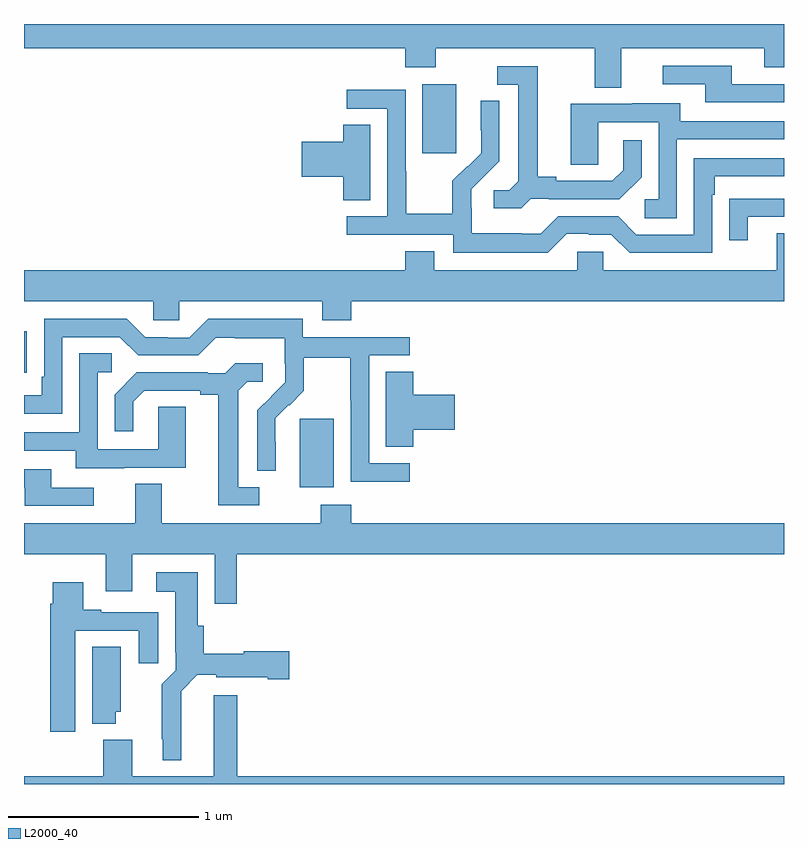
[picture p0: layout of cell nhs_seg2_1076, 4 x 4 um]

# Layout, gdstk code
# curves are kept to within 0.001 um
import gdstk
lib = gdstk.Library(unit=1e-6, precision=1e-09)
def R(c, l, rs):  # rectangles x0, y0, x1, y1
    for r in rs: c.add(gdstk.rectangle(r[:2], r[2:], *l))
def P(c, l, *ps):  # polygons
    for p in ps: c.add(gdstk.Polygon(p, *l))
L2000_40 = (2000, 40)

nhs_seg2_1076 = lib.new_cell('nhs_seg2_1076')
R(nhs_seg2_1076, L2000_40, [(168.452,609.362,168.631,609.723), (167,609.964,167.015,610.183), (169.097,611.121,169.276,611.482)])
P(nhs_seg2_1076, L2000_40, [(170.143,611.672),(170.897,611.672),(170.897,611.573),(171,611.573),(171,611.8),(167,611.8),(167,611.672),(169.007,611.672),(169.007,611.573),(169.167,611.573),(169.167,611.672),(170.003,611.672),(170.003,611.464),(170.143,611.464)],
  [(171,611.484),(170.725,611.484),(170.725,611.58),(170.361,611.58),(170.361,611.484),(170.585,611.484),(170.585,611.388),(171,611.388)],
  [(169.668,610.881),(169.762,610.881),(169.762,610.878),(170.134,610.878),(170.25,610.994),(170.25,611.188),(170.153,611.188),(170.153,611.031),(170.096,610.974),(169.801,610.974),(169.801,610.997),(169.705,610.997),(169.705,611.577),(169.491,611.577),(169.491,611.481),(169.601,611.481),(169.601,610.973),(169.554,610.926),(169.473,610.926),(169.473,610.829),(169.616,610.829)],
  [(169.857,610.695),(169.973,610.695),(169.973,610.692),(170.091,610.692),(170.187,610.596),(170.622,610.596),(170.622,610.901),(170.635,610.901),(170.635,610.998),(171,610.998),(171,611.094),(170.526,611.094),(170.526,610.692),(170.223,610.692),(170.127,610.788),(169.812,610.788),(169.719,610.695),(169.619,610.695),(169.619,610.699),(169.356,610.699),(169.356,610.833),(169.354,610.833),(169.354,610.93),(169.5,611.078),(169.5,611.396),(169.404,611.396),(169.404,611.242),(169.406,611.242),(169.406,611.12),(169.335,611.049),(169.332,611.052),(169.255,610.975),(169.255,610.801),(169.011,610.801),(169.011,611.024),(169.008,611.024),(169.008,611.454),(168.699,611.454),(168.699,611.355),(168.912,611.355),(168.912,610.788),(168.699,610.788),(168.699,610.692),(169.26,610.692),(169.26,610.595),(169.757,610.595)],
  [(170.436,611.193),(171,611.193),(171,611.289),(170.455,611.289),(170.455,611.383),(170.201,611.383),(170.201,611.379),(169.877,611.379),(169.877,611.059),(170.022,611.059),(170.022,611.283),(170.34,611.283),(170.34,610.878),(170.268,610.878),(170.268,610.777),(170.436,610.777)],
  [(168.823,611.27),(168.68,611.27),(168.68,611.18),(168.462,611.18),(168.462,610.997),(168.68,610.997),(168.68,610.873),(168.823,610.873)],
  [(170.809,610.785),(171,610.785),(171,610.881),(170.815,610.881),(170.815,610.88),(170.713,610.88),(170.713,610.662),(170.809,610.662)],
  [(171,610.699),(170.963,610.699),(170.963,610.504),(170.049,610.504),(170.049,610.602),(169.911,610.602),(169.911,610.504),(169.159,610.504),(169.159,610.603),(169.007,610.603),(169.007,610.504),(167,610.504),(167,610.34),(167.679,610.34),(167.679,610.242),(167.817,610.242),(167.817,610.34),(168.569,610.34),(168.569,610.241),(168.722,610.241),(168.722,610.34),(171,610.34)],
  [(169.03,609.489),(168.816,609.489),(168.816,610.056),(169.03,610.056),(169.03,610.152),(168.468,610.152),(168.468,610.249),(167.971,610.249),(167.871,610.149),(167.756,610.149),(167.756,610.152),(167.637,610.152),(167.541,610.248),(167.106,610.248),(167.106,609.943),(167.093,609.943),(167.093,609.846),(167,609.846),(167,609.75),(167.202,609.75),(167.202,610.152),(167.505,610.152),(167.601,610.056),(167.916,610.056),(168.009,610.149),(168.109,610.149),(168.109,610.145),(168.372,610.145),(168.372,610.011),(168.374,610.011),(168.374,609.914),(168.228,609.766),(168.228,609.448),(168.324,609.448),(168.323,609.725),(168.393,609.795),(168.396,609.792),(168.473,609.869),(168.473,610.044),(168.718,610.044),(168.718,609.82),(168.72,609.82),(168.72,609.391),(169.03,609.391)],
  [(167.527,609.465),(167.851,609.465),(167.851,609.785),(167.706,609.785),(167.706,609.561),(167.388,609.561),(167.388,609.966),(167.461,609.966),(167.461,610.067),(167.292,610.067),(167.292,609.651),(167,609.651),(167,609.555),(167.273,609.555),(167.273,609.461),(167.527,609.461)],
  [(168.238,609.363),(168.127,609.363),(168.127,609.871),(168.174,609.918),(168.256,609.918),(168.256,610.015),(168.112,610.015),(168.06,609.963),(167.966,609.963),(167.966,609.966),(167.594,609.966),(167.478,609.85),(167.478,609.657),(167.575,609.657),(167.575,609.813),(167.632,609.87),(167.927,609.87),(167.927,609.848),(168.023,609.848),(168.023,609.267),(168.238,609.267)],
  [(169.049,609.665),(169.267,609.665),(169.267,609.848),(169.049,609.848),(169.049,609.971),(168.905,609.971),(168.905,609.574),(169.049,609.574)],
  [(167.368,609.36),(167.143,609.36),(167.143,609.456),(167,609.456),(167,609.36),(167.003,609.36),(167.003,609.264),(167.368,609.264)],
  [(171,609.172),(168.722,609.172),(168.722,609.271),(168.562,609.271),(168.562,609.172),(167.725,609.172),(167.725,609.38),(167.585,609.38),(167.585,609.172),(167,609.172),(167,609.008),(167.429,609.008),(167.429,608.814),(167.569,608.814),(167.569,609.008),(168.003,609.008),(168.003,608.748),(168.119,608.748),(168.119,609.008),(171,609.008)],
  [(167.827,608.288),(167.913,608.375),(168.012,608.375),(168.012,608.363),(168.284,608.363),(168.284,608.351),(168.397,608.351),(168.397,608.498),(168.156,608.498),(168.156,608.485),(167.945,608.485),(167.945,608.634),(167.914,608.634),(167.914,608.914),(167.697,608.914),(167.697,608.813),(167.795,608.813),(167.795,608.494),(167.799,608.494),(167.799,608.4),(167.725,608.326),(167.725,608.035),(167.729,608.035),(167.729,607.925),(167.827,607.925)],
  [(167.269,608.607),(167.603,608.607),(167.603,608.436),(167.707,608.436),(167.707,608.703),(167.407,608.703),(167.407,608.716),(167.311,608.716),(167.311,608.863),(167.15,608.863),(167.15,608.75),(167.138,608.75),(167.138,608.076),(167.269,608.076)],
  [(167.482,608.181),(167.509,608.181),(167.509,608.522),(167.36,608.522),(167.36,608.117),(167.482,608.117)],
  [(171,607.84),(168.122,607.84),(168.122,608.266),(167.999,608.266),(167.999,607.84),(167.569,607.84),(167.569,608.032),(167.417,608.032),(167.417,607.84),(167,607.84),(167,607.8),(171,607.8)])

lib.write_gds('nhs_seg2_1076.gds')
